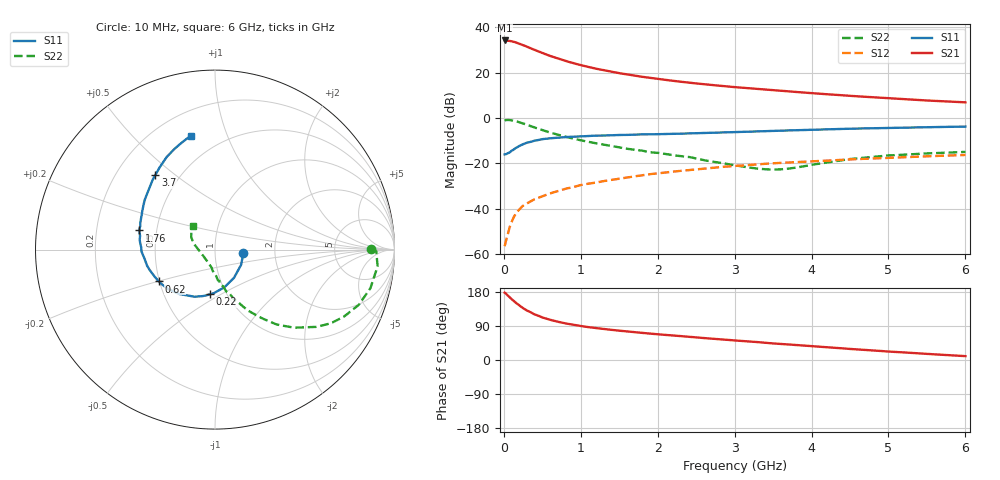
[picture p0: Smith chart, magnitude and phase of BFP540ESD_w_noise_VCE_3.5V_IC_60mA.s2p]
! Infineon Technologies  Discrete & RF Semiconductors
! BFP540ESD
! VCE =  3.5 V,  IC =  60 mA
! Common Emitter S-Parameters:  Nov 2015
# GHz  S  MA  R  50
!  f  S11  S21  S12  S22
! GHz  MAG  ANG  MAG  ANG  MAG  ANG  MAG  ANG
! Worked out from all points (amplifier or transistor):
!   210 points, 10 MHz to 6 GHz, reference 50 ohm
!   highest |S21| = 34.2 dB at 10 MHz (marker M1)
!   |S21| within 3 dB of that: start of sweep to 318.3 MHz
!   unconditionally stable (mu >= 1): start of sweep to 23.55 MHz; 1.348 GHz to end of sweep
!   at 185 MHz: K = 0.41, MSG = 36.9 dB, |S12| = -40.9 dB
!   at 1.52 GHz: K = 1.02, MAG = 22.2 dB, |S12| = -26.6 dB
!   at 6 GHz: K = 1.10, MAG = 9.6 dB, |S12| = -16.3 dB
!   lowest NFmin = 2.01 dB at 900 MHz
!   S11 on the Smith chart (normalised r, x): 10 MHz: 1.37, -0.05; 220 MHz: 0.84, -0.45; 620 MHz: 0.50, -0.20; 1.76 GHz: 0.40, +0.10; 3.7 GHz: 0.37, +0.43; 6 GHz: 0.34, +0.75
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0.01  0.1576 -6.0  51.26 177.8  0.0015 98.2  0.8694 0.3
0.02  0.1592 -14.3  50.5 176.4  0.0017 97.2  0.8986 -0.6
0.05  0.1684 -30.5  50.78 170.4  0.0027 84.6  0.9107 -5.9
0.1  0.1899 -56.3  49.28 160.8  0.0051 76.4  0.892 -14.0
0.15  0.2164 -76.0  46.8 152.0  0.0076 74.4  0.8582 -21.0
0.2  0.242 -91.2  43.76 143.9  0.0096 74.0  0.8095 -27.5
0.22  0.2501 -96.2  42.39 141.2  0.0104 73.3  0.7893 -29.6
0.26  0.2689 -105.3  39.87 135.6  0.012 72.2  0.7502 -33.7
0.3  0.2865 -113.6  37.41 130.6  0.0131 71.4  0.709 -37.4
0.4  0.3173 -128.8  31.7 120.3  0.0162 69.0  0.6187 -44.7
0.5  0.3426 -140.4  27.19 112.3  0.0189 68.9  0.5409 -50.5
0.62  0.3598 -150.4  22.83 105.1  0.0223 67.3  0.469 -55.2
0.8  0.381 -162.1  18.14 96.6  0.0276 66.9  0.3868 -61.5
1.02  0.3951 -172.2  14.39 89.1  0.0339 66.8  0.3176 -66.6
1.4  0.4183 175.2  10.48 79.5  0.0434 65.0  0.2399 -75.1
1.76  0.4345 165.8  8.298 72.2  0.0536 62.5  0.1948 -81.3
2.02  0.4423 160.1  7.205 67.5  0.0607 60.5  0.1696 -84.8
3.1  0.4949 138.8  4.657 50.2  0.0902 51.3  0.0855 -113.5
3.7  0.5323 128.6  3.864 41.0  0.1047 45.4  0.0767 -159.4
4.1  0.5568 122.8  3.442 35.0  0.1132 41.5  0.0987 175.9
5.1  0.6103 110.5  2.674 21.2  0.1348 32.0  0.1525 150.2
6  0.6486 102.0  2.217 10.2  0.1535 24.6  0.1795 132.5
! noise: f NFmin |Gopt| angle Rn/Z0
0.9  2.01  0.53  -140  0.17
1.8  2.16  0.55  -142  0.17
2.4  2.22  0.56  -131  0.22
3  2.36  0.58  -122  0.31
4  2.43  0.64  -102  0.57
5  2.56  0.7  -86  0.85
6  3.02  0.65  -82  1.34
